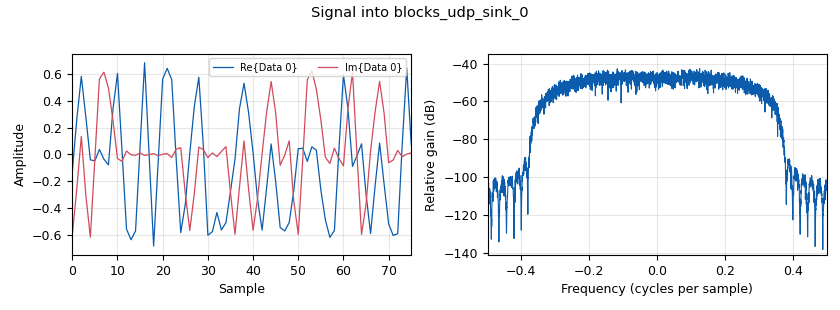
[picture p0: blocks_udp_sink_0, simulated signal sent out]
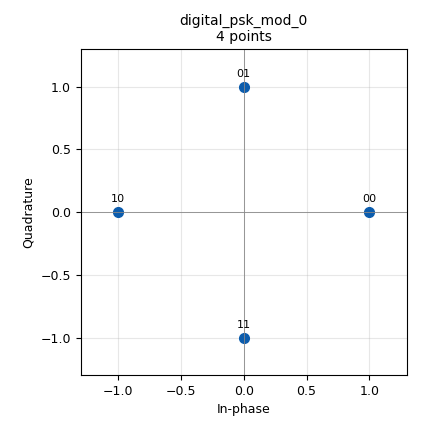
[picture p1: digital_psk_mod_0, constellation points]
<?xml version='1.0' encoding='utf-8'?>
<?grc format='1' created='3.7.10'?>
<flow_graph>
<block>
<key>options</key>
<param><key>id</key><value>sim_UDP_Tx_01</value></param>
<param><key>category</key><value>Custom</value></param>
<param><key>generate_options</key><value>no_gui</value></param>
</block>
<block>
<key>variable</key>
<param><key>id</key><value>freq</value></param>
<param><key>value</key><value>1.06e9</value></param>
</block>
<block>
<key>variable</key>
<param><key>id</key><value>gain</value></param>
<param><key>value</key><value>30</value></param>
</block>
<block>
<key>variable</key>
<param><key>id</key><value>samp_rate</value></param>
<param><key>value</key><value>2e6</value></param>
</block>
<block>
<key>analog_random_source_x</key>
<param><key>id</key><value>analog_random_source_x_0</value></param>
<param><key>max</key><value>255</value></param>
<param><key>min</key><value>0</value></param>
<param><key>num_samps</key><value>10000000</value></param>
<param><key>type</key><value>byte</value></param>
<param><key>repeat</key><value>True</value></param>
</block>
<block>
<key>blocks_multiply_const_vxx</key>
<param><key>id</key><value>blocks_multiply_const_vxx_0</value></param>
<param><key>const</key><value>0.5</value></param>
<param><key>type</key><value>complex</value></param>
</block>
<block>
<key>blocks_throttle</key>
<param><key>id</key><value>blocks_throttle_0</value></param>
<param><key>samples_per_second</key><value>samp_rate</value></param>
<param><key>type</key><value>complex</value></param>
</block>
<block>
<key>blocks_udp_sink</key>
<param><key>id</key><value>blocks_udp_sink_0</value></param>
<param><key>ipaddr</key><value>127.0.0.1</value></param>
<param><key>port</key><value>12345</value></param>
<param><key>type</key><value>complex</value></param>
<param><key>psize</key><value>1472</value></param>
<param><key>eof</key><value>True</value></param>
<param><key>vlen</key><value>1</value></param>
</block>
<block>
<key>digital_psk_mod</key>
<param><key>id</key><value>digital_psk_mod_0</value></param>
<param><key>differential</key><value>False</value></param>
<param><key>excess_bw</key><value>500e-3</value></param>
<param><key>mod_code</key><value>"none"</value></param>
<param><key>constellation_points</key><value>4</value></param>
<param><key>samples_per_symbol</key><value>2</value></param>
</block>
<block>
<key>qtgui_const_sink_x</key>
<param><key>id</key><value>qtgui_const_sink_x_0</value></param>
<param><key>autoscale</key><value>True</value></param>
<param><key>_enabled</key><value>0</value></param>
<param><key>grid</key><value>True</value></param>
<param><key>name</key><value>QT GUI Plot</value></param>
<param><key>size</key><value>1024</value></param>
<param><key>type</key><value>complex</value></param>
</block>
<block>
<key>qtgui_time_sink_x</key>
<param><key>id</key><value>qtgui_time_sink_x_0</value></param>
<param><key>autoscale</key><value>True</value></param>
<param><key>_enabled</key><value>0</value></param>
<param><key>grid</key><value>True</value></param>
<param><key>color1</key><value>"blue"</value></param>
<param><key>label1</key><value></value></param>
<param><key>color2</key><value>"red"</value></param>
<param><key>label2</key><value></value></param>
<param><key>size</key><value>1024</value></param>
<param><key>srate</key><value>samp_rate</value></param>
<param><key>type</key><value>complex</value></param>
</block>
<block>
<key>uhd_usrp_sink</key>
<param><key>id</key><value>uhd_usrp_sink_0</value></param>
<param><key>ant0</key><value>"TX/RX"</value></param>
<param><key>bw0</key><value>samp_rate</value></param>
<param><key>center_freq0</key><value>freq</value></param>
<param><key>norm_gain0</key><value>False</value></param>
<param><key>gain0</key><value>gain</value></param>
<param><key>clock_rate</key><value>0.0</value></param>
<param><key>dev_args</key><value>""</value></param>
<param><key>_enabled</key><value>False</value></param>
<param><key>type</key><value>fc32</value></param>
<param><key>samp_rate</key><value>samp_rate</value></param>
<param><key>hide_cmd_port</key><value>False</value></param>
<param><key>hide_lo_controls</key><value>True</value></param>
<param><key>sync</key><value></value></param>
<param><key>len_tag_name</key><value></value></param>
</block>
<connection><source_block_id>analog_random_source_x_0</source_block_id><sink_block_id>digital_psk_mod_0</sink_block_id><source_key>0</source_key><sink_key>0</sink_key></connection>
<connection><source_block_id>blocks_multiply_const_vxx_0</source_block_id><sink_block_id>blocks_udp_sink_0</sink_block_id><source_key>0</source_key><sink_key>0</sink_key></connection>
<connection><source_block_id>blocks_multiply_const_vxx_0</source_block_id><sink_block_id>qtgui_const_sink_x_0</sink_block_id><source_key>0</source_key><sink_key>0</sink_key></connection>
<connection><source_block_id>blocks_multiply_const_vxx_0</source_block_id><sink_block_id>qtgui_time_sink_x_0</sink_block_id><source_key>0</source_key><sink_key>0</sink_key></connection>
<connection><source_block_id>blocks_multiply_const_vxx_0</source_block_id><sink_block_id>uhd_usrp_sink_0</sink_block_id><source_key>0</source_key><sink_key>0</sink_key></connection>
<connection><source_block_id>blocks_throttle_0</source_block_id><sink_block_id>blocks_multiply_const_vxx_0</sink_block_id><source_key>0</source_key><sink_key>0</sink_key></connection>
<connection><source_block_id>digital_psk_mod_0</source_block_id><sink_block_id>blocks_throttle_0</sink_block_id><source_key>0</source_key><sink_key>0</sink_key></connection>
</flow_graph>
